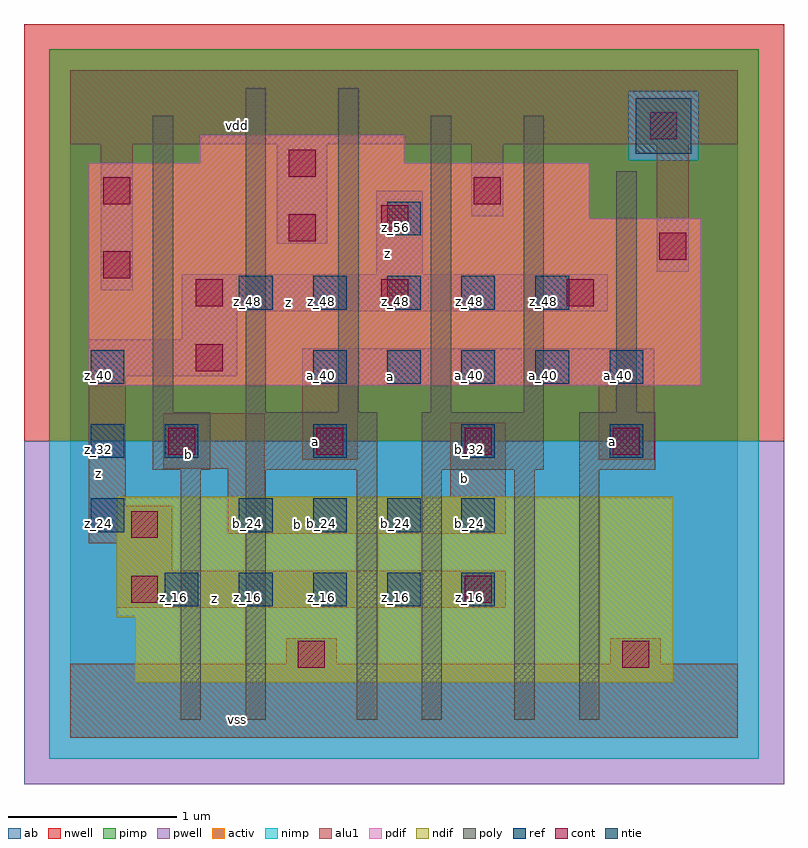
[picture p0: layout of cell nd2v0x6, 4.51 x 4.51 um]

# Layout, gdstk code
import gdstk
lib = gdstk.Library(unit=1e-6, precision=2.5e-09)
def R(c, l, rs):  # rectangles x0, y0, x1, y1
    for r in rs: c.add(gdstk.rectangle(r[:2], r[2:], *l))
def A(c, l, x, y, w, h, nx, ny, dx, dy):  # array of equal rectangles
    R(c, l, [(x+i*dx, y+j*dy, x+i*dx+w, y+j*dy+h) for i in range(nx) for j in range(ny)])
ndif = (3, 0)
pdif = (4, 0)
ntie = (5, 0)
ref = (24, 0)
cont = (25, 0)
pwell = (41, 0)
nwell = (42, 0)
activ = (43, 0)
pimp = (44, 0)
nimp = (45, 0)
poly = (46, 0)
alu1 = (49, 0)
ab = (63, 0)

nd2v0x6 = lib.new_cell('nd2v0x6')
R(nd2v0x6, ndif, [(0.385,0.33,3.575,0.715), (0.275,0.715,3.575,1.43)])
R(nd2v0x6, pdif, [(0.11,2.09,3.74,3.08), (0.11,3.08,3.08,3.41), (0.77,3.41,1.98,3.575)])
R(nd2v0x6, ntie, [(3.355,3.465,3.685,3.795)])
A(nd2v0x6, ref, 0.56, 0.78, 0.2, 0.2, 5, 1, 0.44, 0)
A(nd2v0x6, ref, 0.12, 1.22, 0.2, 0.2, 1, 3, 0, 0.44)
A(nd2v0x6, ref, 1, 1.22, 0.2, 0.2, 4, 1, 0.44, 0)
A(nd2v0x6, ref, 0.56, 1.66, 0.2, 0.2, 4, 1, 0.88, 0)
A(nd2v0x6, ref, 1.44, 2.1, 0.2, 0.2, 5, 1, 0.44, 0)
A(nd2v0x6, ref, 1, 2.54, 0.2, 0.2, 5, 1, 0.44, 0)
R(nd2v0x6, ref, [(1.88,2.98,2.08,3.18)])
A(nd2v0x6, cont, 0.58, 1.68, 0.16, 0.16, 4, 1, 0.88, 0)
A(nd2v0x6, cont, 0.745, 2.56, 0.16, 0.16, 3, 1, 1.1, 0)
R(nd2v0x6, cont, [(1.35,0.415,1.51,0.575), (3.275,0.415,3.435,0.575), (0.36,0.8,0.52,0.96), (2.34,0.8,2.5,0.96), (0.36,1.185,0.52,1.345), (0.745,2.175,0.905,2.335), (0.195,2.725,0.355,2.885), (3.495,2.835,3.655,2.995), (1.295,2.945,1.455,3.105), (1.845,3,2.005,3.16), (0.195,3.165,0.355,3.325), (2.395,3.165,2.555,3.325), (1.295,3.33,1.455,3.49), (3.44,3.55,3.6,3.71)])
R(nd2v0x6, pwell, [(-0.275,-0.275,4.235,1.76)])
R(nd2v0x6, nwell, [(-0.275,1.76,4.235,4.235)])
R(nd2v0x6, activ, [(0.385,0.33,3.575,0.715), (0.275,0.715,3.575,1.43), (0.11,2.09,3.74,3.08), (0.11,3.08,3.08,3.41), (0.77,3.41,1.98,3.575), (3.355,3.465,3.685,3.795)])
R(nd2v0x6, pimp, [(-0.125,1.76,4.085,3.425), (-0.125,3.425,3.315,3.835), (3.725,3.425,4.085,3.835), (-0.125,3.835,4.085,4.085)])
R(nd2v0x6, nimp, [(-0.125,-0.125,4.085,1.76), (3.315,3.425,3.725,3.835)])
R(nd2v0x6, poly, [(0.655,0.105,0.775,1.59), (1.04,0.105,1.16,1.59), (1.7,0.105,1.82,1.59), (2.085,0.105,2.205,1.59), (2.635,0.105,2.755,1.59), (3.02,0.105,3.14,1.59), (0.49,1.59,0.83,1.93), (1.04,1.59,1.82,1.93), (2.085,1.59,2.81,1.93), (3.02,1.59,3.47,1.93), (0.49,1.93,0.61,3.69), (1.04,1.93,1.16,3.855), (1.59,1.93,1.71,3.855), (2.14,1.93,2.26,3.69), (2.69,1.93,2.81,3.69), (3.24,1.93,3.36,3.36)])
R(nd2v0x6, alu1, [(0,0,3.96,0.44), (1.28,0.44,1.58,0.59), (3.205,0.44,3.505,0.59), (0.275,0.77,2.585,0.99), (0.275,0.99,0.605,1.155), (0.11,1.155,0.605,1.375), (0.935,1.21,2.585,1.43), (0.11,1.375,0.33,2.145), (0.935,1.43,1.155,1.595), (2.255,1.43,2.585,1.87), (0.55,1.595,1.155,1.925), (1.375,1.65,1.705,2.09), (3.135,1.65,3.465,2.09), (1.375,2.09,3.465,2.31), (0.11,2.145,0.99,2.365), (0.66,2.365,0.99,2.53), (0.66,2.53,3.19,2.75), (0.18,2.655,0.37,3.52), (1.815,2.75,2.09,3.245), (3.48,2.765,3.67,3.52), (1.225,2.93,1.525,3.52), (2.38,3.095,2.57,3.52), (0,3.52,3.96,3.96)])
R(nd2v0x6, ab, [(0,0,3.96,3.96)])
nd2v0x6.add(gdstk.Label('vss', (0.99,0.11), layer=49, texttype=0))
nd2v0x6.add(gdstk.Label('z', (0.8525,0.825), layer=49, texttype=0))
nd2v0x6.add(gdstk.Label('b', (1.3475,1.265), layer=49, texttype=0))
nd2v0x6.add(gdstk.Label('a', (3.2175,1.76), layer=49, texttype=0))
nd2v0x6.add(gdstk.Label('b', (2.3375,1.54), layer=49, texttype=0))
nd2v0x6.add(gdstk.Label('a', (1.4575,1.76), layer=49, texttype=0))
nd2v0x6.add(gdstk.Label('b', (0.7,1.6775), layer=49, texttype=0))
nd2v0x6.add(gdstk.Label('a', (1.8975,2.145), layer=49, texttype=0))
nd2v0x6.add(gdstk.Label('z', (0.165,1.5675), layer=49, texttype=0))
nd2v0x6.add(gdstk.Label('z', (1.2925,2.585), layer=49, texttype=0))
nd2v0x6.add(gdstk.Label('z', (1.8825,2.8725), layer=49, texttype=0))
nd2v0x6.add(gdstk.Label('vdd', (0.99,3.63), layer=49, texttype=0))
nd2v0x6.add(gdstk.Label('a_40', (3.25,2.15), layer=24, texttype=0))
nd2v0x6.add(gdstk.Label('a_32', (3.25,1.71), layer=24, texttype=0))
nd2v0x6.add(gdstk.Label('z_48', (2.81,2.59), layer=24, texttype=0))
nd2v0x6.add(gdstk.Label('a_40', (2.81,2.15), layer=24, texttype=0))
nd2v0x6.add(gdstk.Label('z_48', (2.37,2.59), layer=24, texttype=0))
nd2v0x6.add(gdstk.Label('a_40', (2.37,2.15), layer=24, texttype=0))
nd2v0x6.add(gdstk.Label('b_32', (2.37,1.71), layer=24, texttype=0))
nd2v0x6.add(gdstk.Label('b_24', (2.37,1.27), layer=24, texttype=0))
nd2v0x6.add(gdstk.Label('z_16', (2.37,0.83), layer=24, texttype=0))
nd2v0x6.add(gdstk.Label('z_40', (0.17,2.15), layer=24, texttype=0))
nd2v0x6.add(gdstk.Label('z_32', (0.17,1.71), layer=24, texttype=0))
nd2v0x6.add(gdstk.Label('z_24', (0.17,1.27), layer=24, texttype=0))
nd2v0x6.add(gdstk.Label('z_56', (1.93,3.03), layer=24, texttype=0))
nd2v0x6.add(gdstk.Label('z_48', (1.93,2.59), layer=24, texttype=0))
nd2v0x6.add(gdstk.Label('a_40', (1.93,2.15), layer=24, texttype=0))
nd2v0x6.add(gdstk.Label('b_24', (1.93,1.27), layer=24, texttype=0))
nd2v0x6.add(gdstk.Label('z_16', (1.93,0.83), layer=24, texttype=0))
nd2v0x6.add(gdstk.Label('z_48', (1.49,2.59), layer=24, texttype=0))
nd2v0x6.add(gdstk.Label('a_40', (1.49,2.15), layer=24, texttype=0))
nd2v0x6.add(gdstk.Label('a_32', (1.49,1.71), layer=24, texttype=0))
nd2v0x6.add(gdstk.Label('b_24', (1.49,1.27), layer=24, texttype=0))
nd2v0x6.add(gdstk.Label('z_16', (1.49,0.83), layer=24, texttype=0))
nd2v0x6.add(gdstk.Label('z_48', (1.05,2.59), layer=24, texttype=0))
nd2v0x6.add(gdstk.Label('b_24', (1.05,1.27), layer=24, texttype=0))
nd2v0x6.add(gdstk.Label('z_16', (1.05,0.83), layer=24, texttype=0))
nd2v0x6.add(gdstk.Label('b_32', (0.61,1.71), layer=24, texttype=0))
nd2v0x6.add(gdstk.Label('z_16', (0.61,0.83), layer=24, texttype=0))

lib.write_gds('nd2v0x6.gds')
